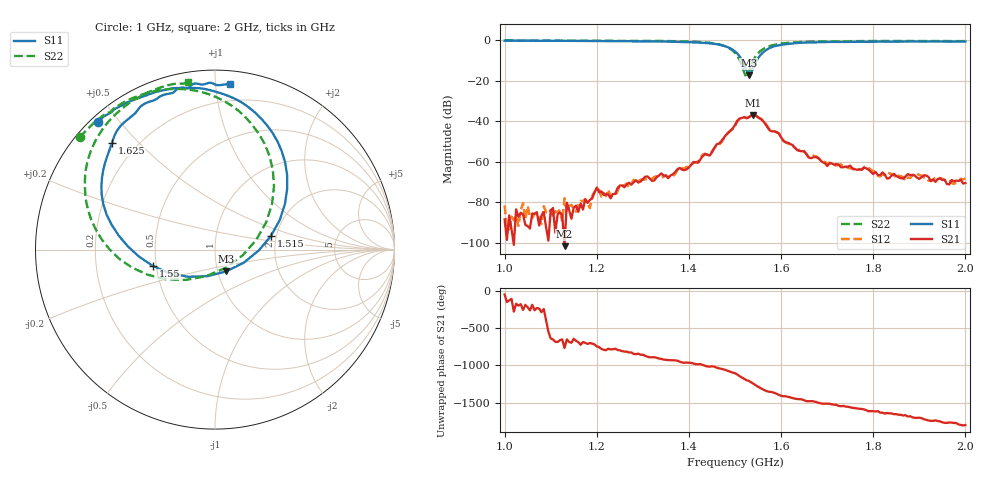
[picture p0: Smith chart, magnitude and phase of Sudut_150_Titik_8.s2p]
# Hz S RI R 50
! CMT, C1220, 16058040, 17.2.0/1
! Date: 14/08/2018 12:06:20
! Data: Format (Calibration Info)
! Freq  S11: Re/Im (F2)  S21: Re/Im (F2)  S12: Re/Im (F2)  S22: Re/Im (F2)
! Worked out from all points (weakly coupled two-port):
!   201 points, 1 GHz to 2 GHz, reference 50 ohm
!   highest |S21| = -36.99 dB at 1.54 GHz (marker M1); lowest = -101.7 dB at 1.13 GHz (marker M2)
!   lowest |S11| = -17.3 dB at 1.53 GHz (marker M3), VSWR 1.32, Z = 55 - j13.6 ohm
!   |S11| at or under -10 dB: 1.515 GHz to 1.547 GHz (31.95 MHz wide, 2.09 % of centre)
!   |S22| runs from -18.6 to -0.2 dB; largest |S21 - S12| = 0.00058
!   S11 on the Smith chart (normalised r, x): 1 GHz: 0.02, +0.44; 1.515 GHz: 1.87, +0.32; 1.55 GHz: 0.48, -0.10; 1.625 GHz: 0.11, +0.42; 2 GHz: 0.09, +1.09
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1e9  -0.6542 0.7097  2.27e-05 -2.97e-05  -7.24e-05 3.97e-05  -0.7535 0.6257
1.13e9  -0.5244 0.8003  5.4e-06 -6.17e-06  0.000125 7.26e-06  -0.6551 0.7224
1.17e9  -0.4862 0.8214  5.64e-05 3.34e-05  0.000101 3.28e-05  -0.6164 0.7514
1.2e9  -0.4449 0.8367  0.000205 -0.000104  0.000158 -7.61e-05  -0.5822 0.7649
1.23e9  -0.4075 0.8512  4.76e-05 -0.000115  6.82e-05 -0.00012  -0.5605 0.7886
1.25e9  -0.3694 0.8642  4.34e-05 -0.000254  7.29e-05 -0.000245  -0.5355 0.8048
1.335e9  -0.2291 0.8994  -0.000446 7.57e-05  -0.000436 8.35e-05  -0.3996 0.8661
1.445e9  0.1461 0.8216  0.000675 0.00124  0.000771 0.00126  -0.00779 0.8557
1.5e9  0.4021 0.3385  0.0072 -0.00355  0.00678 -0.00334  0.3287 0.3529
1.515e9  0.3121 0.0764  0.00111 -0.0119  0.00142 -0.012  0.2306 0.0555
1.525e9  0.1613 -0.0721  -0.00598 -0.0102  -0.00592 -0.0103  0.0592 -0.1019
1.53e9  0.0633 -0.1211  -0.00809 -0.00949  -0.00806 -0.00957  -0.0499 -0.1483
1.54e9  -0.1496 -0.1516  -0.0139 -0.00281  -0.0137 -0.0029  -0.2745 -0.1654
1.55e9  -0.3463 -0.0911  -0.011 0.00582  -0.0112 0.00537  -0.4604 -0.1011
1.58e9  -0.6226 0.2533  0.000978 0.00552  0.00121 0.00565  -0.7063 0.2169
1.625e9  -0.5736 0.5949  0.00257 -1.03e-05  0.00244 5.59e-05  -0.7013 0.5215
1.67e9  -0.4632 0.7434  0.000925 -0.000889  0.00104 -0.000943  -0.6246 0.6735
1.835e9  -0.1607 0.8993  -0.000355 0.000167  -0.000438 0.000283  -0.3755 0.8747
1.87e9  -0.1207 0.9229  -0.000283 0.000325  -0.000156 0.000296  -0.3267 0.8949
1.895e9  -0.0772 0.92  -3.15e-05 0.000402  -6.93e-05 0.000505  -0.2904 0.9074
1.975e9  0.0467 0.9188  0.000292 0.000147  0.000265 9.2e-05  -0.1781 0.9246
2e9  0.0862 0.921  0.000296 -9.22e-06  0.000382 -1.79e-05  -0.1506 0.9335
